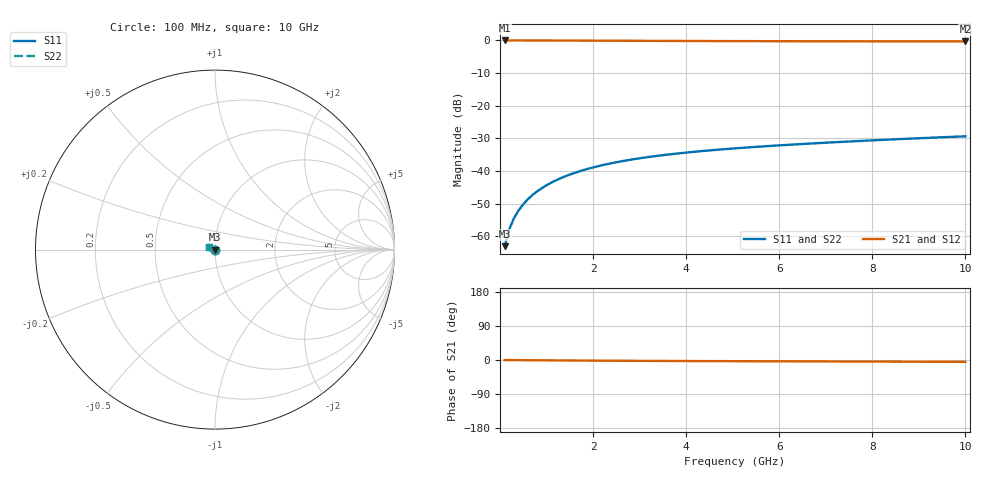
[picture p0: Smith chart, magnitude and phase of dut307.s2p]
! Touchstone file exported from HFSS 2024.1.0
!  File:  C:/UserFiles/LocalFiles/RDL_TSV_Batchsim/temp_TSV1_307_1779615327.aedt
!  Generated:  05:47:04 PM May 24, 2026
!  Design:  TSV1
!  Project:  temp_TSV1_307_1779615327
!  Setup:  Setup1
!  Solution:  Sweep
! Variables:
!  dtsv = 6.03um
!  hbump = 3um
!  htsv = 71.86um
!  lrdl = 252.1521522um
!  p = 40
!  p1 = 45.05um
!  t = 500um
!  trdl = 3um
!  wrdl = 24.89489489um
# GHz S MA R 50.000000
! Terminal data exported
! Port[1] = TSV22_T1
! Port[2] = TSV22_T2
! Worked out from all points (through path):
!   100 points, 100 MHz to 10 GHz, reference 50 ohm
!   highest |S21| = 0.00 dB at 100 MHz (marker M1); lowest = -0.3 dB at 10 GHz (marker M2)
!   lowest |S11| = -63.0 dB at 100 MHz (marker M3), VSWR 1.00, Z = 50 - j0.0618 ohm
!   |S11| at or under -10 dB: start of sweep to end of sweep
!   |S22| runs from -63.0 to -29.4 dB; largest |S21 - S12| = 1e-14
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0.1  0.0007068 -60.9  0.9996 -0.1  0.9996 -0.1  0.0007068 -60.9
! Gamma 0 0 0 0
! Port Impedance 50 0 50 0
0.2  0.001282 -77.2  0.9995 -0.2  0.9995 -0.2  0.001282 -77.2
0.3  0.001883 -84.6  0.9994 -0.3  0.9994 -0.3  0.001883 -84.6
0.4  0.002489 -89.3  0.9993 -0.4  0.9993 -0.4  0.002489 -89.3
0.5  0.003094 -93.0  0.9991 -0.5  0.9991 -0.5  0.003094 -93.0
0.6  0.003696 -96.1  0.9988 -0.6  0.9988 -0.6  0.003696 -96.1
0.7  0.004294 -98.9  0.9985 -0.6  0.9985 -0.6  0.004294 -98.9
0.8  0.004886 -101.5  0.9982 -0.7  0.9982 -0.7  0.004886 -101.5
0.9  0.005472 -103.9  0.9979 -0.8  0.9979 -0.8  0.005472 -103.9
1.1  0.006622 -108.4  0.9971 -1.0  0.9971 -1.0  0.006622 -108.4
1.4  0.008285 -114.6  0.9957 -1.2  0.9957 -1.2  0.008285 -114.6
1.6  0.009346 -118.6  0.9947 -1.4  0.9947 -1.4  0.009346 -118.6
1.8  0.01037 -122.3  0.9936 -1.5  0.9936 -1.5  0.01037 -122.3
2.1  0.01183 -127.7  0.9919 -1.7  0.9919 -1.7  0.01183 -127.7
2.5  0.01363 -134.5  0.9895 -2.0  0.9895 -2.0  0.01363 -134.5
2.9  0.01528 -140.7  0.9871 -2.2  0.9871 -2.2  0.01528 -140.7
3.4  0.01715 -148.0  0.9843 -2.5  0.9843 -2.5  0.01715 -148.0
4.2  0.01979 -158.3  0.9803 -2.8  0.9803 -2.8  0.01979 -158.3
5.1  0.02238 -168.4  0.9764 -3.2  0.9764 -3.2  0.02238 -168.4
6.7  0.02643 176.9  0.9713 -3.7  0.9713 -3.7  0.02643 176.9
8.4  0.0304 164.5  0.9676 -4.3  0.9676 -4.3  0.0304 164.5
10  0.03406 155.2  0.9652 -4.8  0.9652 -4.8  0.03406 155.2
